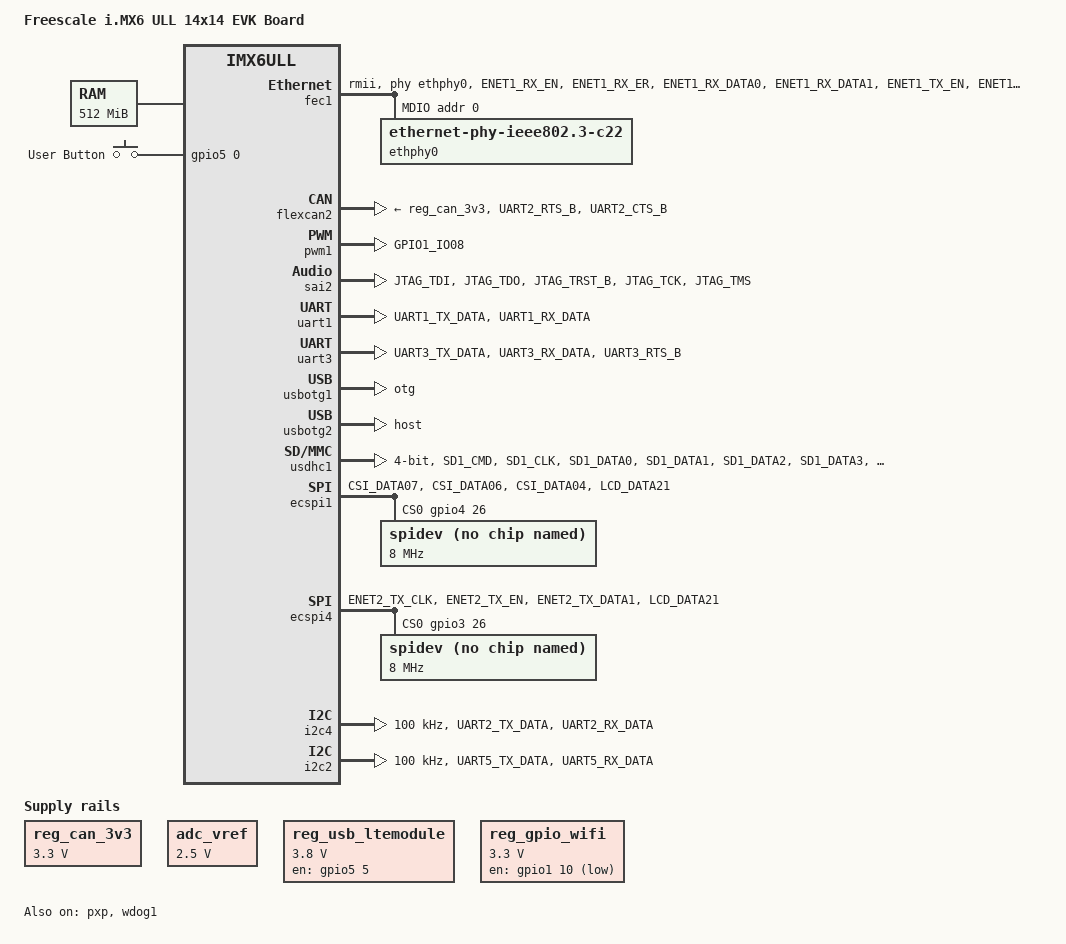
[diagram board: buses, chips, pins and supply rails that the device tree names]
/*
 * Copyright (C) 2016 Freescale Semiconductor, Inc.
 *
 * This program is free software; you can redistribute it and/or modify
 * it under the terms of the GNU General Public License version 2 as
 * published by the Free Software Foundation.
 */

/dts-v1/;

#include <dt-bindings/input/input.h>
#include "imx6ull.dtsi"

/ {
	model = "Freescale i.MX6 ULL 14x14 EVK Board";
	compatible = "fsl,imx6ull-14x14-evk", "fsl,imx6ull";

	chosen {
		stdout-path = &uart1;
	};

	memory {
		reg = <0x80000000 0x20000000>;
	};

	reserved-memory {
		#address-cells = <1>;
		#size-cells = <1>;
		ranges;

		linux,cma {
			compatible = "shared-dma-pool";
			reusable;
			size = <0x14000000>;
			linux,cma-default;
		};
	};



	pxp_v4l2 {
		compatible = "fsl,imx6ul-pxp-v4l2", "fsl,imx6sx-pxp-v4l2", "fsl,imx6sl-pxp-v4l2";
		status = "okay";
	};

	regulators {
		compatible = "simple-bus";
		#address-cells = <1>;
		#size-cells = <0>;

		reg_can_3v3: regulator@0 {
			compatible = "regulator-fixed";
			reg = <0>;
			regulator-name = "can-3v3";
			regulator-min-microvolt = <3300000>;
			regulator-max-microvolt = <3300000>;
		};
    
    adc_vref: fixedregulator {
         compatible = "regulator-fixed";
         regulator-name = "fixed-supply";
         regulator-min-microvolt = <2500000>;
         regulator-max-microvolt = <2500000>;
    }; 
		reg_usb_ltemodule: regulator@1 {
			compatible = "regulator-fixed";
			regulator-name = "ltemodule-pwr";
			regulator-min-microvolt = <3800000>;
			regulator-max-microvolt = <3800000>;
			gpios = <&gpio5 5 GPIO_ACTIVE_HIGH>;
			enable-active-high;
			regulator-boot-on;
		};

		reg_gpio_wifi: regulator@2 {
			compatible = "regulator-fixed";
			regulator-name = "wifi-pwr";
			regulator-min-microvolt = <3300000>;
			regulator-max-microvolt = <3300000>;
			gpios = <&gpio1 10 GPIO_ACTIVE_LOW>;
			regulator-boot-on;
		};

	};
/*
	leds {
		compatible = "gpio-leds";
		pinctrl-names = "default";
		pinctrl-0 = <&pinctrl_leds>;

		led0: cpu {
			label = "cpu";
			gpios = <&gpio5 1 GPIO_ACTIVE_LOW>;
			default-state = "on";
			linux,default-trigger = "heartbeat";
		};
	};
*/
	gpio-keys {
		compatible = "gpio-keys";
		pinctrl-names = "default";
		pinctrl-0 = <&pinctrl_gpio_key>;

		user {
			label = "User Button";
			gpios = <&gpio5 0 GPIO_ACTIVE_HIGH>;
			gpio-key,wakeup;
			linux,code = <KEY_1>;
		};
	};

};

&gpmi{
	status = "disabled";
};
&cpu0 {
	arm-supply = <&reg_arm>;
	soc-supply = <&reg_soc>;
};

&clks {
	assigned-clocks = <&clks IMX6UL_CLK_PLL4_AUDIO_DIV>;
	assigned-clock-rates = <786432000>;
};

&fec1 {
	pinctrl-names = "default";
	pinctrl-0 = <&pinctrl_enet1>;
	phy-mode = "rmii";
	phy-handle = <&ethphy0>;
	phy-reset-gpios = <&gpio5 9 GPIO_ACTIVE_LOW>;
	phy-reset-duration = <26>;
	status = "okay";
 	mdio {
		#address-cells = <1>;
		#size-cells = <0>;

		ethphy0: ethernet-phy@0 {
			compatible = "ethernet-phy-ieee802.3-c22";
			smsc,disable-energy-detect;
			reg = <0>;
		};
	};
};

&flexcan1 {
	pinctrl-names = "default";
	pinctrl-0 = <&pinctrl_flexcan1>;
	xceiver-supply = <&reg_can_3v3>;
	status = "disabled";
};

&flexcan2 {
	pinctrl-names = "default";
	pinctrl-0 = <&pinctrl_flexcan2>;
	xceiver-supply = <&reg_can_3v3>;
	status = "okay";
};

&gpc {
	fsl,cpu_pupscr_sw2iso = <0x1>;
	fsl,cpu_pupscr_sw = <0x0>;
	fsl,cpu_pdnscr_iso2sw = <0x1>;
	fsl,cpu_pdnscr_iso = <0x1>;
	fsl,ldo-bypass = <0>; /* DCDC, ldo-enable */
};

&i2c1 {
	clock-frequency = <100000>;
	pinctrl-names = "default";
	pinctrl-0 = <&pinctrl_i2c1>;
	status = "disabled";
};








&iomuxc {
	pinctrl-names = "default";
	pinctrl-0 = <&pinctrl_hog_1>;
	imx6ul-evk {
		pinctrl_hog_1: hoggrp-1 {
			fsl,pins = <
				MX6UL_PAD_UART1_RTS_B__GPIO1_IO19	0x17059 /* SD1 CD */
				MX6UL_PAD_JTAG_MOD__GPIO1_IO10		0x17059 /* WiFi module power */
				MX6UL_PAD_NAND_CE1_B__GPIO4_IO14	0x17059 /* LTE Reset */
				MX6UL_PAD_GPIO1_IO00__ANATOP_OTG1_ID    0x17059 /* USB OTG1 ID */
				MX6UL_PAD_GPIO1_IO09__GPIO1_IO09	0x1b0b0 /* LCD_DISP */
			>;
		};

		pinctrl_wifi: wifigrp {
			fsl,pins = <
				MX6UL_PAD_LCD_HSYNC__GPIO3_IO02		0x17059 /* WiFi module power */
			>;
		};



		pinctrl_enet1: enet1grp {
			fsl,pins = <
				MX6UL_PAD_ENET1_RX_EN__ENET1_RX_EN	0x1b0b0
				MX6UL_PAD_ENET1_RX_ER__ENET1_RX_ER	0x1b0b0
				MX6UL_PAD_ENET1_RX_DATA0__ENET1_RDATA00	0x1b0b0
				MX6UL_PAD_ENET1_RX_DATA1__ENET1_RDATA01	0x1b0b0
				MX6UL_PAD_ENET1_TX_EN__ENET1_TX_EN	0x1b0b0
				MX6UL_PAD_ENET1_TX_DATA0__ENET1_TDATA00	0x1b0b0
				MX6UL_PAD_ENET1_TX_DATA1__ENET1_TDATA01	0x1b0b0
				MX6UL_PAD_ENET1_TX_CLK__ENET1_REF_CLK1	0x4001b031
			>;
		};

		pinctrl_flexcan1: flexcan1grp{
			fsl,pins = <
				MX6UL_PAD_UART2_RTS_B__FLEXCAN2_RX	0x1b020
				MX6UL_PAD_UART2_CTS_B__FLEXCAN2_TX	0x1b020
			>;
		};

		pinctrl_flexcan2: flexcan2grp{
			fsl,pins = <
				MX6UL_PAD_UART2_RTS_B__FLEXCAN2_RX	0x1b020
				MX6UL_PAD_UART2_CTS_B__FLEXCAN2_TX	0x1b020
			>;
		};

		pinctrl_i2c1: i2c1grp {
			fsl,pins = <
				MX6UL_PAD_UART4_TX_DATA__I2C1_SCL 0x4001b8b0
				MX6UL_PAD_UART4_RX_DATA__I2C1_SDA 0x4001b8b0
			>;
		};

		pinctrl_i2c2: i2c2grp {
			fsl,pins = <
				MX6UL_PAD_UART5_TX_DATA__I2C2_SCL 0x4001b8b0
				MX6UL_PAD_UART5_RX_DATA__I2C2_SDA 0x4001b8b0
			>;
		};
		pinctrl_i2c4: i2c4grp {
			fsl,pins = <
				MX6UL_PAD_UART2_TX_DATA__I2C4_SCL 0x4001b8b0
				MX6UL_PAD_UART2_RX_DATA__I2C4_SDA 0x4001b8b0
			>;
		};

		pinctrl_pwm1: pwm1grp {
			fsl,pins = <
				MX6UL_PAD_GPIO1_IO08__PWM1_OUT   0x110b0
			>;
		};

		pinctrl_qspi: qspigrp {
			fsl,pins = <
				MX6UL_PAD_NAND_WP_B__QSPI_A_SCLK      0x70a1
				MX6UL_PAD_NAND_READY_B__QSPI_A_DATA00 0x70a1
				MX6UL_PAD_NAND_CE0_B__QSPI_A_DATA01   0x70a1
				MX6UL_PAD_NAND_CE1_B__QSPI_A_DATA02   0x70a1
				MX6UL_PAD_NAND_CLE__QSPI_A_DATA03     0x70a1
				MX6UL_PAD_NAND_DQS__QSPI_A_SS0_B      0x70a1
			>;
		};

		pinctrl_sai2: sai2grp {
			fsl,pins = <
				MX6UL_PAD_JTAG_TDI__SAI2_TX_BCLK	0x17088
				MX6UL_PAD_JTAG_TDO__SAI2_TX_SYNC	0x17088
				MX6UL_PAD_JTAG_TRST_B__SAI2_TX_DATA	0x11088
				MX6UL_PAD_JTAG_TCK__SAI2_RX_DATA	0x11088
				MX6UL_PAD_JTAG_TMS__SAI2_MCLK		0x17088
			>;
		};



		pinctrl_uart1: uart1grp {
			fsl,pins = <
				MX6UL_PAD_UART1_TX_DATA__UART1_DCE_TX 0x1b0b1
				MX6UL_PAD_UART1_RX_DATA__UART1_DCE_RX 0x1b0b1
			>;
		};
		pinctrl_uart3: uart3grp {
			fsl,pins = <
				MX6UL_PAD_UART3_TX_DATA__UART3_DCE_TX	0x1b0b1
				MX6UL_PAD_UART3_RX_DATA__UART3_DCE_RX	0x1b0b1
				MX6UL_PAD_UART3_RTS_B__GPIO1_IO27       0x1b0b1 /* RS485 RE/DE */
                                
			>;
		};

		pinctrl_uart3dte: uart3dtegrp {
			fsl,pins = <
				MX6UL_PAD_UART3_TX_DATA__UART3_DCE_TX	0x1b0b1
				MX6UL_PAD_UART3_RX_DATA__UART3_DCE_RX	0x1b0b1
				MX6UL_PAD_UART3_CTS_B__UART3_DCE_CTS	0x1b0b1
				MX6UL_PAD_UART3_RTS_B__UART3_DCE_RTS	0x1b0b1
			>;
		};

		pinctrl_uart2: uart2grp {
			fsl,pins = <
				MX6UL_PAD_UART2_TX_DATA__UART2_DCE_TX	0x1b0b1
				MX6UL_PAD_UART2_RX_DATA__UART2_DCE_RX	0x1b0b1
			>;
		};

		pinctrl_uart2dte: uart2dtegrp {
			fsl,pins = <
				MX6UL_PAD_UART2_TX_DATA__UART2_DTE_RX	0x1b0b1
				MX6UL_PAD_UART2_RX_DATA__UART2_DTE_TX	0x1b0b1
				MX6UL_PAD_UART3_RX_DATA__UART2_DTE_CTS	0x1b0b1
				MX6UL_PAD_UART3_TX_DATA__UART2_DTE_RTS	0x1b0b1
			>;
		};

		pinctrl_uart4: uart4grp {
			fsl,pins = <
				MX6UL_PAD_UART4_TX_DATA__UART4_DCE_TX   0x1b0b1
				MX6UL_PAD_UART4_RX_DATA__UART4_DCE_RX   0x1b0b1
				MX6UL_PAD_UART1_CTS_B__GPIO1_IO18       0x1b0b1 /* RS485 RE/DE */
			>;
		};

		pinctrl_usdhc1: usdhc1grp {
			fsl,pins = <
				MX6UL_PAD_SD1_CMD__USDHC1_CMD     0x17059
				MX6UL_PAD_SD1_CLK__USDHC1_CLK     0x10071
				MX6UL_PAD_SD1_DATA0__USDHC1_DATA0 0x17059
				MX6UL_PAD_SD1_DATA1__USDHC1_DATA1 0x17059
				MX6UL_PAD_SD1_DATA2__USDHC1_DATA2 0x17059
				MX6UL_PAD_SD1_DATA3__USDHC1_DATA3 0x17059
			>;
		};

		pinctrl_usdhc1_100mhz: usdhc1grp100mhz {
			fsl,pins = <
				MX6UL_PAD_SD1_CMD__USDHC1_CMD     0x170b9
				MX6UL_PAD_SD1_CLK__USDHC1_CLK     0x100b9
				MX6UL_PAD_SD1_DATA0__USDHC1_DATA0 0x170b9
				MX6UL_PAD_SD1_DATA1__USDHC1_DATA1 0x170b9
				MX6UL_PAD_SD1_DATA2__USDHC1_DATA2 0x170b9
				MX6UL_PAD_SD1_DATA3__USDHC1_DATA3 0x170b9
			>;
		};

		pinctrl_usdhc1_200mhz: usdhc1grp200mhz {
			fsl,pins = <
				MX6UL_PAD_SD1_CMD__USDHC1_CMD     0x170f9
				MX6UL_PAD_SD1_CLK__USDHC1_CLK     0x100f9
				MX6UL_PAD_SD1_DATA0__USDHC1_DATA0 0x170f9
				MX6UL_PAD_SD1_DATA1__USDHC1_DATA1 0x170f9
				MX6UL_PAD_SD1_DATA2__USDHC1_DATA2 0x170f9
				MX6UL_PAD_SD1_DATA3__USDHC1_DATA3 0x170f9
			>;
		};

		pinctrl_usdhc2: usdhc2grp {
			fsl,pins = <
				MX6UL_PAD_NAND_RE_B__USDHC2_CLK     0x10069
				MX6UL_PAD_NAND_WE_B__USDHC2_CMD     0x17059
				MX6UL_PAD_NAND_DATA00__USDHC2_DATA0 0x17059
				MX6UL_PAD_NAND_DATA01__USDHC2_DATA1 0x17059
				MX6UL_PAD_NAND_DATA02__USDHC2_DATA2 0x17059
				MX6UL_PAD_NAND_DATA03__USDHC2_DATA3 0x17059
			>;
		};

		pinctrl_usdhc2_8bit: usdhc2grp_8bit {
			fsl,pins = <
				MX6UL_PAD_NAND_RE_B__USDHC2_CLK     0x10069
				MX6UL_PAD_NAND_WE_B__USDHC2_CMD     0x17059
				MX6UL_PAD_NAND_DATA00__USDHC2_DATA0 0x17059
				MX6UL_PAD_NAND_DATA01__USDHC2_DATA1 0x17059
				MX6UL_PAD_NAND_DATA02__USDHC2_DATA2 0x17059
				MX6UL_PAD_NAND_DATA03__USDHC2_DATA3 0x17059
				MX6UL_PAD_NAND_DATA04__USDHC2_DATA4 0x17059
				MX6UL_PAD_NAND_DATA05__USDHC2_DATA5 0x17059
				MX6UL_PAD_NAND_DATA06__USDHC2_DATA6 0x17059
				MX6UL_PAD_NAND_DATA07__USDHC2_DATA7 0x17059
			>;
		};

		pinctrl_usdhc2_8bit_100mhz: usdhc2grp_8bit_100mhz {
			fsl,pins = <
				MX6UL_PAD_NAND_RE_B__USDHC2_CLK     0x100b9
				MX6UL_PAD_NAND_WE_B__USDHC2_CMD     0x170b9
				MX6UL_PAD_NAND_DATA00__USDHC2_DATA0 0x170b9
				MX6UL_PAD_NAND_DATA01__USDHC2_DATA1 0x170b9
				MX6UL_PAD_NAND_DATA02__USDHC2_DATA2 0x170b9
				MX6UL_PAD_NAND_DATA03__USDHC2_DATA3 0x170b9
				MX6UL_PAD_NAND_DATA04__USDHC2_DATA4 0x170b9
				MX6UL_PAD_NAND_DATA05__USDHC2_DATA5 0x170b9
				MX6UL_PAD_NAND_DATA06__USDHC2_DATA6 0x170b9
				MX6UL_PAD_NAND_DATA07__USDHC2_DATA7 0x170b9
			>;
		};

		pinctrl_usdhc2_8bit_200mhz: usdhc2grp_8bit_200mhz {
			fsl,pins = <
				MX6UL_PAD_NAND_RE_B__USDHC2_CLK     0x100f9
				MX6UL_PAD_NAND_WE_B__USDHC2_CMD     0x170f9
				MX6UL_PAD_NAND_DATA00__USDHC2_DATA0 0x170f9
				MX6UL_PAD_NAND_DATA01__USDHC2_DATA1 0x170f9
				MX6UL_PAD_NAND_DATA02__USDHC2_DATA2 0x170f9
				MX6UL_PAD_NAND_DATA03__USDHC2_DATA3 0x170f9
				MX6UL_PAD_NAND_DATA04__USDHC2_DATA4 0x170f9
				MX6UL_PAD_NAND_DATA05__USDHC2_DATA5 0x170f9
				MX6UL_PAD_NAND_DATA06__USDHC2_DATA6 0x170f9
				MX6UL_PAD_NAND_DATA07__USDHC2_DATA7 0x170f9
			>;
		};


		pinctrl_ioeye: ioeyegrp {
			fsl,pins = <
				MX6UL_PAD_GPIO1_IO03__GPIO1_IO03		0x1b0b1  /* Led Red  */
				MX6UL_PAD_GPIO1_IO04__GPIO1_IO04		0x1b0b0  /* Led Blue  */
				MX6UL_PAD_GPIO1_IO05__GPIO1_IO05		0x1b0b0  /* Led Green */
				MX6UL_PAD_GPIO1_IO01__GPIO1_IO01        0x1b0b0  /* WD DONE */
                MX6UL_PAD_GPIO1_IO02__GPIO1_IO02        0x1b0b0  /* WD WAKE */
				MX6UL_PAD_UART4_TX_DATA__GPIO1_IO28        0x1b0b0  /* DO 1 */
                MX6UL_PAD_UART4_RX_DATA__GPIO1_IO29        0x1b0b0  /* DO 2 */	
				MX6UL_PAD_NAND_DQS__GPIO4_IO16		0x1b0b0  /*  CLR */
				MX6UL_PAD_NAND_CE1_B__GPIO4_IO14		0x1b0b0  /* LDAC */
				MX6ULL_PAD_SNVS_TAMPER2__GPIO5_IO02  0x17081 /* TECHO 01 */ 
                MX6ULL_PAD_SNVS_TAMPER1__GPIO5_IO01  0x17081 /* TECHO 02 */ 

			>;
		};
		
		pinctrl_ioeye_adc_en: ioeye_adc_engrp {
			fsl,pins = <
				MX6UL_PAD_ENET2_RX_DATA0__GPIO2_IO08		0x1b0b0  /* A1 EN  */
				MX6UL_PAD_ENET2_RX_EN__GPIO2_IO10		0x1b0b0  /* A2 EN  */
                MX6UL_PAD_ENET2_RX_ER__GPIO2_IO15		0x1b0b0  /* A3 EN  */
				MX6UL_PAD_ENET2_RX_DATA1__GPIO2_IO09		0x1b0b0  /* A4 EN  */
				MX6UL_PAD_ENET2_TX_DATA0__GPIO2_IO11		0x1b0b0  /* A5 EN  */
                MX6UL_PAD_LCD_DATA16__GPIO3_IO21		0x1b0b0  /* A6 EN  */
				MX6UL_PAD_GPIO1_IO08__GPIO1_IO08		0x1b0b0  /* A7 EN  */
                MX6UL_PAD_GPIO1_IO09__GPIO1_IO09		0x1b0b0  /* A8 EN  */
        
			>;
		};
    pinctrl_ecspi2_1: ecspi2grp-1 { 
        fsl,pins = <
            MX6UL_PAD_CSI_DATA03__ECSPI2_MISO 0x100b1
      		  MX6UL_PAD_CSI_DATA02__ECSPI2_MOSI 0x100b1
            MX6UL_PAD_CSI_DATA00__ECSPI2_SCLK 0x100b1
        > ;
    } ;
    pinctrl_ecspi2_cs_1: ecspi2_cs_grp-1 { 
        fsl,pins = <
            MX6UL_PAD_LCD_DATA21__GPIO3_IO26   0x100b1 /* output */
        > ;
    } ;
 
		pinctrl_ecspi1_cs: ecspi1cs {
			fsl,pins = <
				MX6UL_PAD_LCD_DATA21__GPIO3_IO26 0x80000000
			>;
		};
		
		pinctrl_ecspi1: ecspi1grp {
			fsl,pins = <
				MX6UL_PAD_CSI_DATA07__ECSPI1_MISO 0x100b1
				MX6UL_PAD_CSI_DATA06__ECSPI1_MOSI 0x100b1
				MX6UL_PAD_CSI_DATA04__ECSPI1_SCLK 0x100b1
			>;
		};
   
   
 		pinctrl_ecspi4_cs: ecspi4cs {
			fsl,pins = <
				MX6UL_PAD_LCD_DATA21__GPIO3_IO26 0x80000000
			>;
		};
		
		pinctrl_ecspi4: ecspi4grp {
			fsl,pins = <
				MX6UL_PAD_ENET2_TX_CLK__ECSPI4_MISO 0x100b1
				MX6UL_PAD_ENET2_TX_EN__ECSPI4_MOSI 0x100b1
				MX6UL_PAD_ENET2_TX_DATA1__ECSPI4_SCLK 0x100b1
			>;
		};
   
   
   
   
   
		pinctrl_ecspi2_ad_1: ecspi2_ad_grp-1 { 
			fsl,pins = <
				MX6UL_PAD_LCD_CLK__GPIO3_IO00          0x170b1  /* OS0 */
				MX6UL_PAD_LCD_ENABLE__GPIO3_IO01         0x170b1  /* OS1 */
				MX6UL_PAD_LCD_HSYNC__GPIO3_IO02         0x170b1  /* OS2 */
   	    MX6UL_PAD_LCD_RESET__GPIO3_IO04          0x170b1 /* RANGE */ 
				MX6UL_PAD_LCD_DATA23__GPIO3_IO28          0x170b1 /* CONVST */ 
				MX6UL_PAD_LCD_DATA22__GPIO3_IO27         0x170b1 /* RESET */ 
				MX6UL_PAD_LCD_DATA20__GPIO3_IO25         0x17081 /* BUSY */ 
				MX6UL_PAD_LCD_DATA19__GPIO3_IO24          0x17081 /* FRST */ 
			
			>;
		};
		edt_ft5x06_pins: ft5x06 {
			fsl,pins = <
				MX6UL_PAD_GPIO1_IO05__GPIO1_IO05	0x1b0b0 /* TP INT */
			>;
		};
	};
};







&iomuxc_snvs {
	pinctrl-names = "default_snvs";
	pinctrl-0 = <&pinctrl_hog_2>;
	imx6ul-evk {
		pinctrl_hog_2: hoggrp-2 {
			fsl,pins = <
				MX6ULL_PAD_SNVS_TAMPER0__GPIO5_IO00     0x80000000
				MX6ULL_PAD_SNVS_TAMPER9__GPIO5_IO09     0x1b0b0 /* enet1 reset */
	
			>;
		};


/*
		pinctrl_leds: ledgrp {
			fsl,pins = <
				MX6UL_PAD_CSI_DATA06__GPIO4_IO27 0x1b0b0
			>;
		};
*/
		pinctrl_gpio_key: keygrp {
			fsl,pins = <
				MX6ULL_PAD_SNVS_TAMPER0__GPIO5_IO00 0x1b0b0
			>;
		};

	};
};






&pwm1 {
	pinctrl-names = "default";
	pinctrl-0 = <&pinctrl_pwm1>;
	status = "okay";
};

&pxp {
	status = "okay";
};

&qspi {
	pinctrl-names = "default";
	pinctrl-0 = <&pinctrl_qspi>;
	status = "disabled";
	ddrsmp=<0>;

	flash0: n25q256a@0 {
		#address-cells = <1>;
		#size-cells = <1>;
		compatible = "micron,n25q256a";
		spi-max-frequency = <29000000>;
		spi-nor,ddr-quad-read-dummy = <6>;
		reg = <0>;
	};
};






&sai2 {
	pinctrl-names = "default";
	pinctrl-0 = <&pinctrl_sai2>;

	assigned-clocks = <&clks IMX6UL_CLK_SAI2_SEL>,
			  <&clks IMX6UL_CLK_SAI2>;
	assigned-clock-parents = <&clks IMX6UL_CLK_PLL4_AUDIO_DIV>;
	assigned-clock-rates = <0>, <12288000>;

	status = "okay";
};




&uart1 {
	pinctrl-names = "default";
	pinctrl-0 = <&pinctrl_uart1>;
	status = "okay";
};

/*
&uart3 {
	pinctrl-names = "default";
	pinctrl-0 = <&pinctrl_uart3>;
	status = "okay";
};

&uart2 {
	pinctrl-names = "default";
	pinctrl-0 = <&pinctrl_uart2>;
	status = "okay";
};
*/



&uart3 {
	pinctrl-names = "default";
	pinctrl-0 = <&pinctrl_uart3>;
	fsl,rs485-gpio-txen = <&gpio1 27 GPIO_ACTIVE_HIGH>;
	linux,rs485-enabled-at-boot-time;
	status = "okay";
};

&usbotg1 {
	dr_mode = "otg";
	srp-disable;
	hnp-disable;
	adp-disable;
	status = "okay";
};

&usbotg2 {
	dr_mode = "host";
	disable-over-current;
	status = "okay";
};

&usbphy1 {
	tx-d-cal = <0x5>;
};

&usbphy2 {
	tx-d-cal = <0x5>;
};

&usdhc1 {
    pinctrl-names = "default";
    pinctrl-0 = <&pinctrl_usdhc1>;
	keep-power-in-suspend;
	enable-sdio-wakeup;
	cd-gpios = <&gpio1 19 GPIO_ACTIVE_LOW>;
	bus-width = <4>;
	status = "okay";
};


/*
&usdhc1 {
	pinctrl-names = "default";
	pinctrl-0 = <&pinctrl_usdhc1>;
	cd-gpios = <&gpio3 2 GPIO_ACTIVE_LOW>;
	keep-power-in-suspend;
	enable-sdio-wakeup;
	bus-width = <4>;
	status = "okay";
};
*/


&ecspi1 {
	compatible = "fsl,imx6ul-ecspi";
	fsl,spi-num-chipselects = <1>;
	cs-gpios = <&gpio4 26 0>;
	pinctrl-names = "default";
	pinctrl-0 = <&pinctrl_ecspi1 &pinctrl_ecspi1_cs>;
	status = "okay";
	spidev@0x00{
		#address-cellss=<1>;
		#size-cells=<1>;
		compatible = "rohm,dh2228fv";
		spi-max-frequency = <8000000>;
		reg = <0>;
	};
};
/*
&ecspi1 {
	  compatible = "fsl,imx6ul-ecspi";
    fsl,spi-num-chipselects=<1>;
    cs-gpios=<&gpio3 26 0 > ; 
    pinctrl-names="default" ;
    pinctrl-0 = <&pinctrl_ecspi1 
                 &pinctrl_ecspi1_cs
                 &pinctrl_ecspi2_ad_1>;                                
    status = "okay";   
    adc: ad7606@0{ 
        compatible="adi,ad7606-8";
        reg = <0>;
        spi-max-frequency = <3000000>;
        spi-cpol;
        spi-cpha;
        
        interrupts = <25 IRQ_TYPE_EDGE_FALLING>;
        interrupt-parent = <&gpio3>;
        
        conversion-start-gpios = <&gpio3 28 GPIO_ACTIVE_HIGH>;
        reset-gpios = <&gpio3 27 GPIO_ACTIVE_HIGH>;
        first-data-gpios = <&gpio3 24 GPIO_ACTIVE_HIGH>;
        range-gpios = <&gpio3 4 GPIO_ACTIVE_HIGH>;
        oversampling-ratio-gpios = <&gpio3 0 GPIO_ACTIVE_HIGH
                                        &gpio3 1 GPIO_ACTIVE_HIGH
                                        &gpio3 2 GPIO_ACTIVE_HIGH>;                                                     
    };
};
*/





&ecspi4 {
	compatible = "fsl,imx6ul-ecspi";
	fsl,spi-num-chipselects = <1>;
	cs-gpios = <&gpio3 26 0>;
	pinctrl-names = "default";
	pinctrl-0 = <&pinctrl_ecspi4 &pinctrl_ecspi4_cs>;
	status = "okay";
	spidev@0x00{
		#address-cellss=<1>;
		#size-cells=<1>;
		compatible = "rohm,dh2228fv";
		spi-max-frequency = <8000000>;
		reg = <0>;
	};
};


/*

&ecspi2 {
	  compatible = "fsl,imx6ul-ecspi";
    fsl,spi-num-chipselects=<1>;
    cs-gpios=<&gpio3 26 0 > ; 
    pinctrl-names="default" ;
    pinctrl-0 = <&pinctrl_ecspi2_1 
                 &pinctrl_ecspi2_cs_1
                 &pinctrl_ecspi2_ad_1>;                                
    status = "okay";   
    adc: ad7606@0{ 
        compatible="adi,ad7606-8";
        reg = <0>;
        spi-max-frequency = <6000000>;
        spi-cpol;
        spi-cpha;
        
        interrupts = <25 IRQ_TYPE_EDGE_FALLING>;
        interrupt-parent = <&gpio3>;
        
        conversion-start-gpios = <&gpio3 28 GPIO_ACTIVE_HIGH>;
        reset-gpios = <&gpio3 27 GPIO_ACTIVE_HIGH>;
        first-data-gpios = <&gpio3 24 GPIO_ACTIVE_HIGH>;
        range-gpios = <&gpio3 4 GPIO_ACTIVE_HIGH>;
        oversampling-ratio-gpios = <&gpio3 0 GPIO_ACTIVE_HIGH
                                        &gpio3 1 GPIO_ACTIVE_HIGH
                                        &gpio3 2 GPIO_ACTIVE_HIGH>;                                                     
    };
};

*/


&usdhc2 {
	pinctrl-names = "default";
	pinctrl-0 = <&pinctrl_usdhc2>;
	non-removable;
	status = "disabled";
};

&i2c4 {
	clock-frequency = <100000>;
	pinctrl-names = "default";
	pinctrl-0 = <&pinctrl_i2c4>;
	status = "okay";
};

&i2c2 {
	clock-frequency = <100000>;
	pinctrl-names = "default";
	pinctrl-0 = <&pinctrl_i2c2>;
	status = "okay";
};

&wdog1 {
	status = "okay";
};
